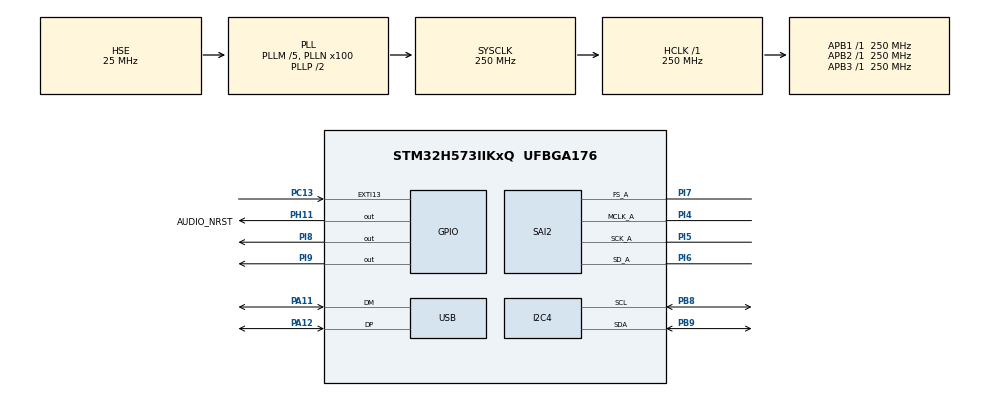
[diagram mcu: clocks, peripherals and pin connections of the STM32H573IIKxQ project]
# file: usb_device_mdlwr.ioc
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BOOTPATH.BootPathName=LEGACY
BOOTPATH.UserSelectedBootPath=LEGACY
CORTEX_M33_NS.userName=CORTEX_M33
FILEX.FX_SRAM_BASE_ADDRESS_RANGES=SRAM2_BASE_NS
FILEX.FX_SRAM_INTERFACE=1
FILEX.SRAM_DISK_SIZE=64*1024
I2C4.Timing=0x60808CD3
Mcu.Family=STM32H5
Mcu.Name=STM32H573IIKxQ
Mcu.Package=UFBGA176
NVIC.PriorityGroup=NVIC_PRIORITYGROUP_4
NVIC.USB_DRD_FS_IRQn=true\:5\:0\:true\:false\:true\:true\:true\:true
PA11.Mode=Device
PA11.Signal=USB_DM
PA12.Mode=Device
PA12.Signal=USB_DP
PB8.Mode=I2C
PB8.Signal=I2C4_SCL
PB9.Mode=I2C
PB9.Signal=I2C4_SDA
PC13.Signal=GPXTI13
PH0-OSC_IN(PH0).Mode=HSE-External-Oscillator
PH0-OSC_IN(PH0).Signal=RCC_OSC_IN
PH1-OSC_OUT(PH1).Mode=HSE-External-Oscillator
PH1-OSC_OUT(PH1).Signal=RCC_OSC_OUT
PH11.GPIO_Label=AUDIO_NRST
PH11.Signal=GPIO_Output
PI4.Mode=SAI_A_MasterWithClock
PI4.Signal=SAI2_MCLK_A
PI5.Mode=SAI_A_MasterWithClock
PI5.Signal=SAI2_SCK_A
PI6.Mode=SAI_A_MasterWithClock
PI6.Signal=SAI2_SD_A
PI7.Mode=SAI_A_MasterWithClock
PI7.Signal=SAI2_FS_A
PI8.Signal=GPIO_Output
PI9.Signal=GPIO_Output
ProjectManager.HeapSize=0x200
ProjectManager.StackSize=0x400
ProjectManager.TargetToolchain=STM32CubeIDE
RCC.ADCFreq_Value=250000000
RCC.AHBFreq_Value=250000000
RCC.APB1Freq_Value=250000000
RCC.APB1TimFreq_Value=250000000
RCC.APB2Freq_Value=250000000
RCC.APB2TimFreq_Value=250000000
RCC.APB3Freq_Value=250000000
RCC.CSI_VALUE=4000000
RCC.CortexFreq_Value=250000000
RCC.EPOD_VALUE=25000000
RCC.HCLKFreq_Value=250000000
RCC.HSE_VALUE=25000000
RCC.HSI48_VALUE=48000000
RCC.HSI_VALUE=64000000
RCC.LSE_VALUE=32768
RCC.LSIRC_VALUE=32000
RCC.PLL2FRACN=0
RCC.PLL2N=32
RCC.PLL2P=1
RCC.PLL3FRACN=0
RCC.PLLFRACN=0
RCC.PLLM=5
RCC.PLLN=100
RCC.PLLSourceVirtual=RCC_PLL1_SOURCE_HSE
RCC.SYSCLKFreq_VALUE=250000000
RCC.SYSCLKSource=RCC_SYSCLKSOURCE_PLLCLK
RCC.USBFreq_Value=48000000
RCC.VCOOutputFreq_Value=500000000
SAI2.ErrorAudioFreq-SAI_A_MasterWithClock=30.2 %
SAI2.InitProtocol-SAI_A_MasterWithClock=Enable
SAI2.Instance-SAI_A_MasterWithClock=SAI$Index_Block_A
SAI2.MckOutput-SAI_A_MasterWithClock=SAI_MCK_OUTPUT_ENABLE
SAI2.RealAudioFreq-SAI_A_MasterWithClock=250.0 KHz
SAI2.VirtualMode-SAI_A_MasterWithClock=VM_MASTER
SAI2.VirtualProtocol-SAI_A_BASIC=VM_BASIC_PROTOCOL
USB.VirtualMode=Device_Only
VP_BOOTPATH_VS_BOOTPATH.Mode=BP_Activate
VP_CORTEX_M33_NS_VS_Hclk.Mode=Hclk_Mode
VP_FILEX_VS_FileOoSystemJjFileXJjCore.Mode=FileX_Core
VP_FILEX_VS_InternalOoRAMOointerface.Mode=Internal_RAM_interface
VP_MEMORYMAP_VS_MEMORYMAP.Mode=CurAppReg
VP_PWR_VS_LPOM.Mode=PowerOptimisation
VP_PWR_VS_SECSignals.Mode=Security/Privilege
VP_SAI2_VP_$IpInstance_SAIA_SAI_BASIC.Mode=SAI_A_BASIC
board=custom

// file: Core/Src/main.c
/* USER CODE BEGIN Header */
/**
  ******************************************************************************
  * @file           : main.c
  * @brief          : Main program body
  ******************************************************************************
  * @attention
  *
  * Copyright (c) 2025 STMicroelectronics.
  * All rights reserved.
  *
  * This software is licensed under terms that can be found in the LICENSE file
  * in the root directory of this software component.
  * If no LICENSE file comes withthis software, it is provided AS-IS.
  *
  ******************************************************************************
  */
/* USER CODE END Header */
#include "main.h"
#include "app_filex.h"

/* USER CODE BEGIN Includes */
//#include "stm32h5xx_hal_conf.h"
//#include "stm32h5xx_hal_pwr.h"
//#include "stm32h5xx_hal_pcd_ex.h"
//#include "stm32h5xx_hal_pcd.h"
#include "usbd_core.h"
//#include "usbd_msc.h"
#include "usbd_desc.h"
//#include "usbd_hid.h"
//#include "usbd_mtp.h"
//#include "usbd_mtp_if_template.h"
//#include "usbd_composite_builder.h"
//#include "usbd_msc_storage_template.h"
#include "app_filex.h"
//#include "fx_stm32_sram_driver.h"
//#include "usbd_dfu.h"
//#include "usbd_dfu_media_template.h"
//#include "usbd_audio.h"
//#include "usbd_audio_if_template.h"
//#include "usbd_customhid.h"
//#include "usbd_customhid_if_template.h"
//#include "usbd_printer.h"
//#include "usbd_printer_if_template.h"
#include "usbd_cdc.h"
#include "usbd_cdc_if_template.h"
/* USER CODE END Includes */

/* USER CODE BEGIN PD */

/* For DFU*/
#define BOOTLOADER_ADDR  0x08000000U
#define APP_ADDRESS     0x08008000U
/* USER CODE END PD */

I2C_HandleTypeDef hi2c4;

SAI_HandleTypeDef hsai_BlockA2;

PCD_HandleTypeDef hpcd_USB_DRD_FS;

/* USER CODE BEGIN PV */
USBD_HandleTypeDef hUsbDeviceFS;
/* USER CODE END PV */

void SystemClock_Config(void);
static void MX_GPIO_Init(void);
static void MX_I2C4_Init(void);
static void MX_SAI2_Init(void);
/* USER CODE BEGIN PFP */
//uint8_t MSC_EpAdd_Inst[2]={MSC_EPIN_ADDR,MSC_EPOUT_ADDR};
//uint8_t HID_EpAdd_Inst   = HID_EPIN_ADDR;
//uint8_t hid_InstID= 0;
//uint8_t MTP_EpAdd_Inst[2] ={MTP_IN_EP,MTP_OUT_EP};

extern FX_MEDIA sram_disk;

/* For DFU*/
typedef void (*pFunction)(void);
/* USER CODE END PFP */

int main(void)
{

  /* MCU Configuration--------------------------------------------------------*/

  /* Reset of all peripherals, Initializes the Flash interface and the Systick. */
  HAL_Init();

  /* Configure the system clock */
  SystemClock_Config();

  /* Initialize all configured peripherals */
  MX_GPIO_Init();
  MX_FileX_Init();
  MX_I2C4_Init();
  MX_SAI2_Init();
  /* USER CODE BEGIN 2 */
  MX_USB_PCD_Init();

      /* Initialize the USB Device stack */
  	USBD_Init(&hUsbDeviceFS, &FS_Desc, DEVICE_FS);

/*  usbd composite class logic for msc and hid   */
//	USBD_RegisterClassComposite(&hUsbDeviceFS, USBD_MSC_CLASS, CLASS_TYPE_MSC, MSC_EpAdd_Inst);
//	hid_InstID = hUsbDeviceFS.classId;
//
//	USBD_RegisterClassComposite(&hUsbDeviceFS, USBD_HID_CLASS, CLASS_TYPE_HID, &HID_EpAdd_Inst);
//	USBD_CMPSIT_SetClassID(&hUsbDeviceFS, CLASS_TYPE_HID, 0);
//	USBD_CMPSIT_SetClassID(&hUsbDeviceFS, CLASS_TYPE_MSC, 0);

     /* Link the MSC storage backend */
//    USBD_MSC_RegisterStorage(&hUsbDeviceFS, &USBD_MSC_Template_fops);

//  	USBD_RegisterClassComposite(&hUsbDeviceFS, &USBD_MTP, CLASS_TYPE_MTP, MTP_EpAdd_Inst);
//  	USBD_CMPSIT_SetClassID(&hUsbDeviceFS, CLASS_TYPE_MTP, 0);

  	/*  usbd MTP class logic*/
//  	USBD_RegisterClass(&hUsbDeviceFS, &USBD_MTP);
//  	USBD_MTP_RegisterInterface(&hUsbDeviceFS, &USBD_MTP_fops);

  	/*  usbd DFU class logic */
//  	USBD_RegisterClass(&hUsbDeviceFS, USBD_DFU_CLASS);
//  	USBD_DFU_RegisterMedia(&hUsbDeviceFS, &USBD_DFU_MEDIA_Template_fops);

  	/*  usbd AUDIO class logic */
//  	 USBD_RegisterClass(&hUsbDeviceFS, &USBD_AUDIO);
//  	 USBD_AUDIO_RegisterInterface(&hUsbDeviceFS, &USBD_AUDIO_Template_fops);

  	/*  usbd CustomHID class logic */

//  	 USBD_RegisterClass(&hUsbDeviceFS, &USBD_CUSTOM_HID);
//  	USBD_CUSTOM_HID_RegisterInterface(&hUsbDeviceFS, &USBD_CustomHID_template_fops);

//  	/*  usbd PRINTER class logic */
//
//  	  	 USBD_RegisterClass(&hUsbDeviceFS, &USBD_PRNT);
//  	  	USBD_PRNT_RegisterInterface(&hUsbDeviceFS, &USBD_PRNT_Template_fops);

  	/*  usbd PRINTER class logic */

  	  	 USBD_RegisterClass(&hUsbDeviceFS, &USBD_CDC);
  	  	USBD_CDC_RegisterInterface(&hUsbDeviceFS, &USBD_CDC_Template_fops);
  	/* Start the USB Device */
    USBD_Start(&hUsbDeviceFS);

    uint8_t msg[] = "hello from aiXtrusion!\r\n";
  /* USER CODE END 2 */

  /* Infinite loop */
  /* USER CODE BEGIN WHILE */
  while (1)
  {
//	  uint8_t report[64] = {0};
//	    	    report[0] = 0xAA;  // Just test pattern
//	    	    USBD_CUSTOM_HID_SendReport(&hUsbDeviceFS, report, sizeof(report));
//	    	    HAL_Delay(100);

	  /*for CDC*/
	  USBD_CDC_SetTxBuffer(&hUsbDeviceFS, msg, strlen((char*)msg));
	  USBD_CDC_TransmitPacket(&hUsbDeviceFS);
	  HAL_Delay(1000);
    /* USER CODE END WHILE */

  }
}

void SystemClock_Config(void)
{
  RCC_OscInitTypeDef RCC_OscInitStruct = {0};
  RCC_ClkInitTypeDef RCC_ClkInitStruct = {0};

  /** Configure the main internal regulator output voltage
  */
  __HAL_PWR_VOLTAGESCALING_CONFIG(PWR_REGULATOR_VOLTAGE_SCALE0);

  while(!__HAL_PWR_GET_FLAG(PWR_FLAG_VOSRDY)) {}

  /** Initializes the RCC Oscillators according to the specified parameters
  * in the RCC_OscInitTypeDef structure.
  */
  RCC_OscInitStruct.OscillatorType = RCC_OSCILLATORTYPE_HSI48|RCC_OSCILLATORTYPE_HSE
                              |RCC_OSCILLATORTYPE_CSI;
  RCC_OscInitStruct.HSEState = RCC_HSE_ON;
  RCC_OscInitStruct.HSI48State = RCC_HSI48_ON;
  RCC_OscInitStruct.CSIState = RCC_CSI_ON;
  RCC_OscInitStruct.CSICalibrationValue = RCC_CSICALIBRATION_DEFAULT;
  RCC_OscInitStruct.PLL.PLLState = RCC_PLL_ON;
  RCC_OscInitStruct.PLL.PLLSource = RCC_PLL1_SOURCE_HSE;
  RCC_OscInitStruct.PLL.PLLM = 5;
  RCC_OscInitStruct.PLL.PLLN = 100;
  RCC_OscInitStruct.PLL.PLLP = 2;
  RCC_OscInitStruct.PLL.PLLQ = 2;
  RCC_OscInitStruct.PLL.PLLR = 2;
  RCC_OscInitStruct.PLL.PLLRGE = RCC_PLL1_VCIRANGE_2;
  RCC_OscInitStruct.PLL.PLLVCOSEL = RCC_PLL1_VCORANGE_WIDE;
  RCC_OscInitStruct.PLL.PLLFRACN = 0;
  if (HAL_RCC_OscConfig(&RCC_OscInitStruct) != HAL_OK)
  {
    Error_Handler();
  }

  /** Initializes the CPU, AHB and APB buses clocks
  */
  RCC_ClkInitStruct.ClockType = RCC_CLOCKTYPE_HCLK|RCC_CLOCKTYPE_SYSCLK
                              |RCC_CLOCKTYPE_PCLK1|RCC_CLOCKTYPE_PCLK2
                              |RCC_CLOCKTYPE_PCLK3;
  RCC_ClkInitStruct.SYSCLKSource = RCC_SYSCLKSOURCE_PLLCLK;
  RCC_ClkInitStruct.AHBCLKDivider = RCC_SYSCLK_DIV1;
  RCC_ClkInitStruct.APB1CLKDivider = RCC_HCLK_DIV1;
  RCC_ClkInitStruct.APB2CLKDivider = RCC_HCLK_DIV1;
  RCC_ClkInitStruct.APB3CLKDivider = RCC_HCLK_DIV1;

  if (HAL_RCC_ClockConfig(&RCC_ClkInitStruct, FLASH_LATENCY_5) != HAL_OK)
  {
    Error_Handler();
  }

  /** Configure the programming delay
  */
  __HAL_FLASH_SET_PROGRAM_DELAY(FLASH_PROGRAMMING_DELAY_2);
}

static void MX_I2C4_Init(void)
{

  hi2c4.Instance = I2C4;
  hi2c4.Init.Timing = 0x60808CD3;
  hi2c4.Init.OwnAddress1 = 0;
  hi2c4.Init.AddressingMode = I2C_ADDRESSINGMODE_7BIT;
  hi2c4.Init.DualAddressMode = I2C_DUALADDRESS_DISABLE;
  hi2c4.Init.OwnAddress2 = 0;
  hi2c4.Init.OwnAddress2Masks = I2C_OA2_NOMASK;
  hi2c4.Init.GeneralCallMode = I2C_GENERALCALL_DISABLE;
  hi2c4.Init.NoStretchMode = I2C_NOSTRETCH_DISABLE;
  if (HAL_I2C_Init(&hi2c4) != HAL_OK)
  {
    Error_Handler();
  }

  /** Configure Analogue filter
  */
  if (HAL_I2CEx_ConfigAnalogFilter(&hi2c4, I2C_ANALOGFILTER_ENABLE) != HAL_OK)
  {
    Error_Handler();
  }

  /** Configure Digital filter
  */
  if (HAL_I2CEx_ConfigDigitalFilter(&hi2c4, 0) != HAL_OK)
  {
    Error_Handler();
  }

}

static void MX_SAI2_Init(void)
{

  hsai_BlockA2.Instance = SAI2_Block_A;
  hsai_BlockA2.Init.AudioMode = SAI_MODEMASTER_TX;
  hsai_BlockA2.Init.Synchro = SAI_ASYNCHRONOUS;
  hsai_BlockA2.Init.OutputDrive = SAI_OUTPUTDRIVE_DISABLE;
  hsai_BlockA2.Init.NoDivider = SAI_MASTERDIVIDER_ENABLE;
  hsai_BlockA2.Init.FIFOThreshold = SAI_FIFOTHRESHOLD_EMPTY;
  hsai_BlockA2.Init.AudioFrequency = SAI_AUDIO_FREQUENCY_192K;
  hsai_BlockA2.Init.SynchroExt = SAI_SYNCEXT_DISABLE;
  hsai_BlockA2.Init.MckOutput = SAI_MCK_OUTPUT_ENABLE;
  hsai_BlockA2.Init.MonoStereoMode = SAI_STEREOMODE;
  hsai_BlockA2.Init.CompandingMode = SAI_NOCOMPANDING;
  hsai_BlockA2.Init.TriState = SAI_OUTPUT_NOTRELEASED;
  if (HAL_SAI_InitProtocol(&hsai_BlockA2, SAI_I2S_STANDARD, SAI_PROTOCOL_DATASIZE_16BIT, 2) != HAL_OK)
  {
    Error_Handler();
  }

}

void MX_USB_PCD_Init(void)
{

  hpcd_USB_DRD_FS.Instance = USB_DRD_FS;
  hpcd_USB_DRD_FS.Init.dev_endpoints = 8;
  hpcd_USB_DRD_FS.Init.speed = USBD_FS_SPEED;
  hpcd_USB_DRD_FS.Init.phy_itface = PCD_PHY_EMBEDDED;
  hpcd_USB_DRD_FS.Init.Sof_enable = DISABLE;
  hpcd_USB_DRD_FS.Init.low_power_enable = DISABLE;
  hpcd_USB_DRD_FS.Init.lpm_enable = DISABLE;
  hpcd_USB_DRD_FS.Init.battery_charging_enable = DISABLE;
  hpcd_USB_DRD_FS.Init.vbus_sensing_enable = DISABLE;
  hpcd_USB_DRD_FS.Init.bulk_doublebuffer_enable = DISABLE;
  hpcd_USB_DRD_FS.Init.iso_singlebuffer_enable = DISABLE;
  if (HAL_PCD_Init(&hpcd_USB_DRD_FS) != HAL_OK)
  {
    Error_Handler();
  }
  /* USER CODE BEGIN USB_Init 2 */
  HAL_NVIC_SetPriority(USB_DRD_FS_IRQn, 5, 0);
    HAL_NVIC_EnableIRQ(USB_DRD_FS_IRQn);
  /* USER CODE END USB_Init 2 */

}

static void MX_GPIO_Init(void)
{
  GPIO_InitTypeDef GPIO_InitStruct = {0};

  /* GPIO Ports Clock Enable */
  __HAL_RCC_GPIOI_CLK_ENABLE();
  __HAL_RCC_GPIOB_CLK_ENABLE();
  __HAL_RCC_GPIOA_CLK_ENABLE();
  __HAL_RCC_GPIOC_CLK_ENABLE();
  __HAL_RCC_GPIOH_CLK_ENABLE();

  /*Configure GPIO pin Output Level */
  HAL_GPIO_WritePin(GPIOI, GPIO_PIN_9|GPIO_PIN_8, GPIO_PIN_RESET);

  /*Configure GPIO pin Output Level */
  HAL_GPIO_WritePin(AUDIO_NRST_GPIO_Port, AUDIO_NRST_Pin, GPIO_PIN_RESET);

  /*Configure GPIO pins : PI9 PI8 */
  GPIO_InitStruct.Pin = GPIO_PIN_9|GPIO_PIN_8;
  GPIO_InitStruct.Mode = GPIO_MODE_OUTPUT_PP;
  GPIO_InitStruct.Pull = GPIO_NOPULL;
  GPIO_InitStruct.Speed = GPIO_SPEED_FREQ_LOW;
  HAL_GPIO_Init(GPIOI, &GPIO_InitStruct);

  /*Configure GPIO pin : PC13 */
  GPIO_InitStruct.Pin = GPIO_PIN_13;
  GPIO_InitStruct.Mode = GPIO_MODE_IT_RISING;
  GPIO_InitStruct.Pull = GPIO_NOPULL;
  HAL_GPIO_Init(GPIOC, &GPIO_InitStruct);

  /*Configure GPIO pin : AUDIO_NRST_Pin */
  GPIO_InitStruct.Pin = AUDIO_NRST_Pin;
  GPIO_InitStruct.Mode = GPIO_MODE_OUTPUT_PP;
  GPIO_InitStruct.Pull = GPIO_NOPULL;
  GPIO_InitStruct.Speed = GPIO_SPEED_FREQ_LOW;
  HAL_GPIO_Init(AUDIO_NRST_GPIO_Port, &GPIO_InitStruct);

}

void Error_Handler(void)
{
  __disable_irq();
  while (1)
  {
  }
}
